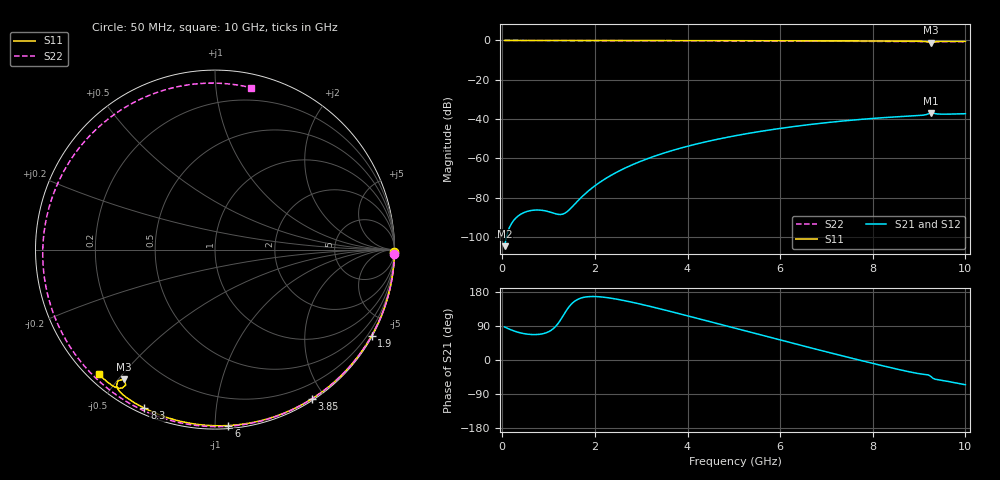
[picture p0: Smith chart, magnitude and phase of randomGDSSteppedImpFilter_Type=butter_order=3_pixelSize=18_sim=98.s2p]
! freq	dB(S11)	phase(S11)	dB(S12)	phase(S12)
!  dB(S21)	phase(S21)	dB(S22)	phase(S22)
!S-par simulation data
#  GHz  S  DB  R 50
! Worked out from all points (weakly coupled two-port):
!   200 points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, 50 MHz to 10 GHz, reference 50 ohm
!   highest |S21| = -36.83 dB at 9.25 GHz (marker M1); lowest = -104.6 dB at 50 MHz (marker M2)
!   lowest |S11| = -1.1 dB at 9.25 GHz (marker M3), VSWR 16.21, Z = 3.91 - j25.8 ohm
!   |S11| at or under -10 dB: nowhere
!   |S22| runs from -0.7 to 0.0 dB; largest |S21 - S12| = 0
!   S11 on the Smith chart (normalised r, x): 50 MHz: open; 1.9 GHz: 0.03, -3.89; 3.85 GHz: 0.02, -1.84; 6 GHz: 0.02, -1.08; 8.3 GHz: 0.02, -0.65; 10 GHz: 0.03, -0.43
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0.05  -0.00 -0.8  -104.61 87.1  -104.61 87.1  -0.00 -1.4
0.85  -0.02 -13.0  -86.36 68.7  -86.36 68.7  -0.02 -23.4
1.7  -0.03 -25.9  -79.95 163.5  -79.95 163.5  -0.06 -46.3
1.75  -0.03 -26.6  -78.82 165.2  -78.82 165.2  -0.06 -47.6
1.9  -0.04 -28.8  -75.74 167.5  -75.74 167.5  -0.07 -51.6
2.2  -0.04 -33.3  -70.68 165.6  -70.68 165.6  -0.08 -59.5
2.55  -0.05 -38.4  -66.05 158.8  -66.05 158.8  -0.09 -68.5
3.4  -0.07 -50.6  -57.95 135.2  -57.95 135.2  -0.12 -90.1
3.85  -0.08 -57.0  -54.75 121.3  -54.75 121.3  -0.14 -101.3
4.45  -0.09 -65.2  -51.25 102.2  -51.25 102.2  -0.17 -116.1
5.05  -0.11 -73.3  -48.37 83.0  -48.37 83.0  -0.20 -130.8
6  -0.15 -85.6  -44.73 52.8  -44.73 52.8  -0.27 -154.7
6.7  -0.18 -94.5  -42.60 30.8  -42.60 30.8  -0.33 -173.1
7.5  -0.23 -104.3  -40.64 6.1  -40.64 6.1  -0.42 164.3
7.9  -0.26 -109.2  -39.84 -6.0  -39.84 -6.0  -0.46 152.2
8.3  -0.29 -114.0  -39.15 -17.7  -39.15 -17.7  -0.50 139.5
8.35  -0.29 -114.6  -39.07 -19.2  -39.07 -19.2  -0.51 137.9
9.15  -0.59 -125.9  -37.73 -38.4  -37.73 -38.4  -0.60 110.0
9.25  -1.07 -125.2  -36.83 -43.0  -36.83 -43.0  -0.61 106.4
9.3  -0.89 -123.4  -36.90 -48.3  -36.90 -48.3  -0.62 104.5
9.4  -0.54 -124.7  -37.39 -52.0  -37.39 -52.0  -0.63 100.8
10  -0.46 -133.1  -37.25 -65.3  -37.25 -65.3  -0.68 77.6
